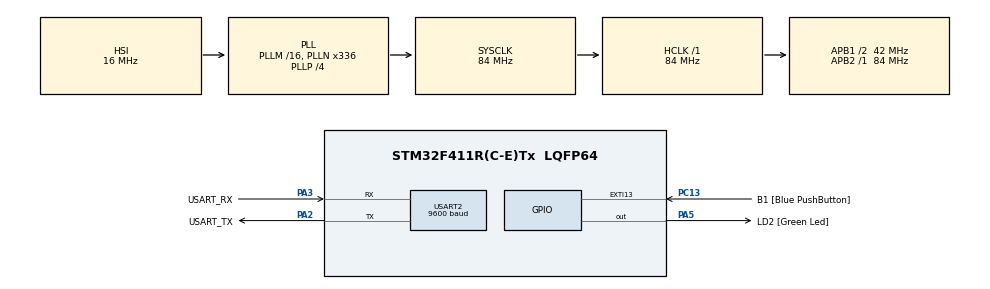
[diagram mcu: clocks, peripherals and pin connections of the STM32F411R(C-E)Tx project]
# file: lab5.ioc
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Mcu.Family=STM32F4
Mcu.Name=STM32F411R(C-E)Tx
Mcu.Package=LQFP64
NVIC.PriorityGroup=NVIC_PRIORITYGROUP_0
NVIC.USART2_IRQn=true\:0\:0\:false\:false\:true\:true\:true\:true
PA13.GPIO_Label=TMS
PA13.Mode=Serial_Wire
PA13.Signal=SYS_JTMS-SWDIO
PA14.GPIO_Label=TCK
PA14.Mode=Serial_Wire
PA14.Signal=SYS_JTCK-SWCLK
PA2.GPIO_Label=USART_TX
PA2.Mode=Asynchronous
PA2.Signal=USART2_TX
PA3.GPIO_Label=USART_RX
PA3.Mode=Asynchronous
PA3.Signal=USART2_RX
PA5.GPIO_Label=LD2 [Green Led]
PA5.Signal=GPIO_Output
PB3.GPIO_Label=SWO
PB3.Signal=SYS_JTDO-SWO
PC13-ANTI_TAMP.GPIO_Label=B1 [Blue PushButton]
PC13-ANTI_TAMP.GPIO_ModeDefaultEXTI=GPIO_MODE_IT_FALLING
PC13-ANTI_TAMP.Signal=GPXTI13
PC14-OSC32_IN.Mode=LSE-External-Oscillator
PC14-OSC32_IN.Signal=RCC_OSC32_IN
PC15-OSC32_OUT.Mode=LSE-External-Oscillator
PC15-OSC32_OUT.Signal=RCC_OSC32_OUT
PH0\ -\ OSC_IN.Mode=HSE-External-Clock-Source
PH0\ -\ OSC_IN.Signal=RCC_OSC_IN
PH1\ -\ OSC_OUT.Mode=HSE-External-Clock-Source
PH1\ -\ OSC_OUT.Signal=RCC_OSC_OUT
ProjectManager.HeapSize=0x200
ProjectManager.StackSize=0x400
ProjectManager.TargetToolchain=STM32CubeIDE
RCC.48MHZClocksFreq_Value=84000000
RCC.AHBFreq_Value=84000000
RCC.APB1CLKDivider=RCC_HCLK_DIV2
RCC.APB1Freq_Value=42000000
RCC.APB1TimFreq_Value=84000000
RCC.APB2Freq_Value=84000000
RCC.APB2TimFreq_Value=84000000
RCC.CortexFreq_Value=84000000
RCC.FLatency-AdvancedSettings=FLASH_LATENCY_2
RCC.HCLKFreq_Value=84000000
RCC.HSE_VALUE=8000000
RCC.HSI_VALUE=16000000
RCC.PLLN=336
RCC.PLLP=RCC_PLLP_DIV4
RCC.SYSCLKFreq_VALUE=84000000
RCC.SYSCLKSource=RCC_SYSCLKSOURCE_PLLCLK
RCC.VCOOutputFreq_Value=336000000
USART2.BaudRate=9600
USART2.VirtualMode=VM_ASYNC
board=NUCLEO-F411RE

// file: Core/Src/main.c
/* USER CODE BEGIN Header */
/**
 ******************************************************************************
 * @file           : main.c
 * @brief          : Main program body
 ******************************************************************************
 * @attention
 *
 * Copyright (c) 2023 STMicroelectronics.
 * All rights reserved.
 *
 * This software is licensed under terms that can be found in the LICENSE file
 * in the root directory of this software component.
 * If no LICENSE file comes with this software, it is provided AS-IS.
 *
 ******************************************************************************
 */
/* USER CODE END Header */
#include "main.h"

/* USER CODE BEGIN Includes */
#include "stdio.h"
#include "string.h"
/* USER CODE END Includes */

UART_HandleTypeDef huart2;

/* USER CODE BEGIN PV */
uint8_t RxBuffer[20];
uint8_t TxBuffer[400];
uint8_t text[80];
uint8_t test = 0;
uint8_t state = 0;
uint8_t meau[20];
uint16_t a;
uint8_t step;
uint8_t check;
uint8_t t;
uint8_t Buttontick;
uint8_t p;
/* USER CODE END PV */

void SystemClock_Config(void);
static void MX_GPIO_Init(void);
static void MX_USART2_UART_Init(void);
/* USER CODE BEGIN PFP */
void UARTPollingMethod();
void Dummytask();
void UARTInterruptConfig();
/* USER CODE END PFP */

int main(void) {

	/* MCU Configuration--------------------------------------------------------*/

	/* Reset of all peripherals, Initializes the Flash interface and the Systick. */
	HAL_Init();

	/* Configure the system clock */
	SystemClock_Config();

	/* Initialize all configured peripherals */
	MX_GPIO_Init();
	MX_USART2_UART_Init();
	/* USER CODE BEGIN 2 */
	//  uint8_t text[] = "HELLO FIBO";
	//  HAL_UART_Transmit(&huart2, text, 11, 10);
	UARTInterruptConfig();
	/* USER CODE END 2 */

	/* Infinite loop */
	/* USER CODE BEGIN WHILE */
	while (1) {
		//Dummytask();
		HAL_GPIO_TogglePin(GPIOB, GPIO_PIN_1);

		/* USER CODE END WHILE */

		/* USER CODE BEGIN 3 */
		switch (state) {
		case 1: {
			if (step == 1) {
				Dummytask();
			}
			if (RxBuffer[0] == 97) // a speed up 1 Hz
					{
				a = a + 500;
				sprintf((char*) TxBuffer, "speed : %d\r\n", a / 500);
				HAL_UART_Transmit_IT(&huart2, TxBuffer,
						strlen((char*) TxBuffer));
				RxBuffer[0] = 0;
			} else if (RxBuffer[0] == 115) // s speed down 1 Hz
					{
				a = a - 500;
				sprintf((char*) TxBuffer, "speed : %d\r\n", a / 500);
				HAL_UART_Transmit_IT(&huart2, TxBuffer,
						strlen((char*) TxBuffer));
				RxBuffer[0] = 0;
			} else if (RxBuffer[0] == 100) // d on off
					{
				if (step == 0) {
					step = 1;
				} else if (step == 1) {
					step = 0;
				}

				HAL_GPIO_TogglePin(LD2_GPIO_Port, LD2_Pin);
				//HAL_GPIO_WritePin(LED_D2_GPIO_Port, LED_D2_Pin, GPIO_PIN_SET);
				//sprintf((char*) TxBuffer, "speed : %d\r\n", test);
				//HAL_UART_Transmit_IT(&huart2, TxBuffer, strlen((char*) TxBuffer));
				RxBuffer[0] = 0;
			} else if (RxBuffer[0] == 120) {
				state = 0;
				sprintf((char*)TxBuffer, "LED Control\r\na: Speed Up+1Hz\r\ns: Speed Down -1Hz\r\nd: On/Off\r\nx: Back\r\n\0");
							HAL_UART_Transmit_IT(&huart2, TxBuffer, strlen((char*) TxBuffer));
				RxBuffer[0] = 0;
			}
			break;

		}
		case 2: {
			//readbutton();
			Buttontick = HAL_GPIO_ReadPin(GPIOC, GPIO_PIN_13);
			if (check == 0 & Buttontick > 0) {
						t = 1;
					} else {

						t = 0;
					}
					check = Buttontick;
					if(Buttontick == 1 && t == 1)
					{
						sprintf((char*) TxBuffer, "Button : Press \r\n\0 ");
						HAL_UART_Transmit_IT(&huart2, TxBuffer,	strlen((char*) TxBuffer));
					}
					else if(Buttontick == 0 && t == 1)
					{

				        sprintf((char*) TxBuffer, "Button : UnPress \r\n\0 ");
				      HAL_UART_Transmit_IT(&huart2, TxBuffer, strlen((char*) TxBuffer));
					}

			}
		if(RxBuffer[0] == 120){
			state = 0 ;
			sprintf((char*)TxBuffer, "LED Control\r\na: Speed Up +1Hz\r\n   s: Speed Down -1Hz\r\n   d: On/Off\r\n   x: Back\r\n----------------------------------\r\n\0");
						HAL_UART_Transmit_IT(&huart2, TxBuffer, strlen((char*) TxBuffer));
			RxBuffer[0] = 0;
		}
		break;
		}

	}
	/* USER CODE END 3 */
}

void SystemClock_Config(void) {
	RCC_OscInitTypeDef RCC_OscInitStruct = { 0 };
	RCC_ClkInitTypeDef RCC_ClkInitStruct = { 0 };

	/** Configure the main internal regulator output voltage
	 */
	__HAL_RCC_PWR_CLK_ENABLE();
	__HAL_PWR_VOLTAGESCALING_CONFIG(PWR_REGULATOR_VOLTAGE_SCALE1);

	/** Initializes the RCC Oscillators according to the specified parameters
	 * in the RCC_OscInitTypeDef structure.
	 */
	RCC_OscInitStruct.OscillatorType = RCC_OSCILLATORTYPE_HSI;
	RCC_OscInitStruct.HSIState = RCC_HSI_ON;
	RCC_OscInitStruct.HSICalibrationValue = RCC_HSICALIBRATION_DEFAULT;
	RCC_OscInitStruct.PLL.PLLState = RCC_PLL_ON;
	RCC_OscInitStruct.PLL.PLLSource = RCC_PLLSOURCE_HSI;
	RCC_OscInitStruct.PLL.PLLM = 16;
	RCC_OscInitStruct.PLL.PLLN = 336;
	RCC_OscInitStruct.PLL.PLLP = RCC_PLLP_DIV4;
	RCC_OscInitStruct.PLL.PLLQ = 4;
	if (HAL_RCC_OscConfig(&RCC_OscInitStruct) != HAL_OK) {
		Error_Handler();
	}

	/** Initializes the CPU, AHB and APB buses clocks
	 */
	RCC_ClkInitStruct.ClockType = RCC_CLOCKTYPE_HCLK | RCC_CLOCKTYPE_SYSCLK
			| RCC_CLOCKTYPE_PCLK1 | RCC_CLOCKTYPE_PCLK2;
	RCC_ClkInitStruct.SYSCLKSource = RCC_SYSCLKSOURCE_PLLCLK;
	RCC_ClkInitStruct.AHBCLKDivider = RCC_SYSCLK_DIV1;
	RCC_ClkInitStruct.APB1CLKDivider = RCC_HCLK_DIV2;
	RCC_ClkInitStruct.APB2CLKDivider = RCC_HCLK_DIV1;

	if (HAL_RCC_ClockConfig(&RCC_ClkInitStruct, FLASH_LATENCY_2) != HAL_OK) {
		Error_Handler();
	}
}

static void MX_USART2_UART_Init(void) {

	huart2.Instance = USART2;
	huart2.Init.BaudRate = 9600;
	huart2.Init.WordLength = UART_WORDLENGTH_8B;
	huart2.Init.StopBits = UART_STOPBITS_1;
	huart2.Init.Parity = UART_PARITY_NONE;
	huart2.Init.Mode = UART_MODE_TX_RX;
	huart2.Init.HwFlowCtl = UART_HWCONTROL_NONE;
	huart2.Init.OverSampling = UART_OVERSAMPLING_16;
	if (HAL_UART_Init(&huart2) != HAL_OK) {
		Error_Handler();
	}

}

static void MX_GPIO_Init(void) {
	GPIO_InitTypeDef GPIO_InitStruct = { 0 };

	/* GPIO Ports Clock Enable */
	__HAL_RCC_GPIOC_CLK_ENABLE();
	__HAL_RCC_GPIOH_CLK_ENABLE();
	__HAL_RCC_GPIOA_CLK_ENABLE();
	__HAL_RCC_GPIOB_CLK_ENABLE();

	/*Configure GPIO pin Output Level */
	HAL_GPIO_WritePin(LD2_GPIO_Port, LD2_Pin, GPIO_PIN_RESET);

	/*Configure GPIO pin : B1_Pin */
	GPIO_InitStruct.Pin = B1_Pin;
	GPIO_InitStruct.Mode = GPIO_MODE_IT_FALLING;
	GPIO_InitStruct.Pull = GPIO_NOPULL;
	HAL_GPIO_Init(B1_GPIO_Port, &GPIO_InitStruct);

	/*Configure GPIO pin : LD2_Pin */
	GPIO_InitStruct.Pin = LD2_Pin;
	GPIO_InitStruct.Mode = GPIO_MODE_OUTPUT_PP;
	GPIO_InitStruct.Pull = GPIO_NOPULL;
	GPIO_InitStruct.Speed = GPIO_SPEED_FREQ_LOW;
	HAL_GPIO_Init(LD2_GPIO_Port, &GPIO_InitStruct);

}

/* USER CODE BEGIN 4 */
void Dummytask() {
	static uint32_t timestamp = 0;
	if (HAL_GetTick() >= timestamp) {
		timestamp = HAL_GetTick() + a;
		HAL_GPIO_TogglePin(LD2_GPIO_Port, LD2_Pin);
	}

}

void UARTInterruptConfig() {
	HAL_UART_Receive_IT(&huart2, RxBuffer, 1);
}

void HAL_UART_RxCpltCallback(UART_HandleTypeDef *huart) {
	if (huart == &huart2) {
		RxBuffer[1] = '\0';
		sprintf((char*) TxBuffer, "status : %s\r\n", RxBuffer);
		HAL_UART_Transmit_IT(&huart2, TxBuffer, strlen((char*) TxBuffer));
		HAL_UART_Receive_IT(&huart2, RxBuffer, 1);
		if (RxBuffer[0] == 48) // 0 LED CONtrol
				{
			sprintf((char*)TxBuffer, "LED Control\r\n a : speed+1Hz\r\n s: speed-1Hz\r\n");
			HAL_UART_Transmit_IT(&huart2, TxBuffer, strlen((char*) TxBuffer));
			state = 1;
		} else if (RxBuffer[0] == 49) // 1 button status
				{
			state = 2;
		}

	}
}

/* USER CODE END 4 */

void Error_Handler(void) {
	__disable_irq();
	while (1) {
	}
}
